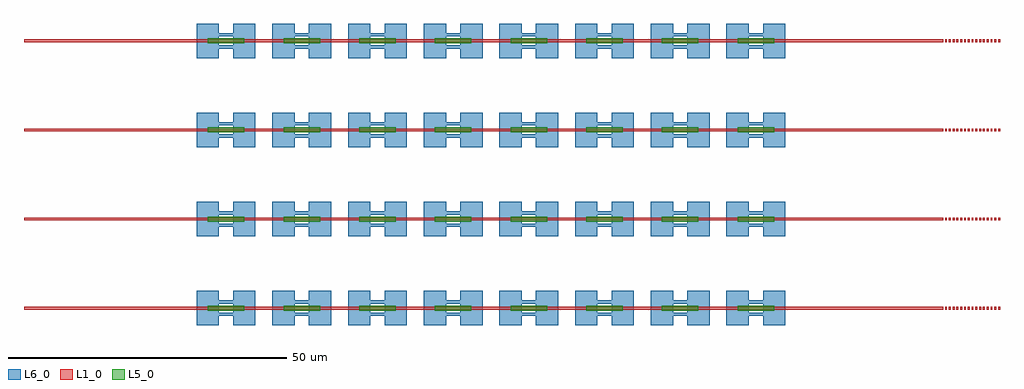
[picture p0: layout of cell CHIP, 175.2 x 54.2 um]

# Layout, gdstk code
import gdstk
lib = gdstk.Library(unit=1e-6, precision=1e-09)
def R(c, l, rs):  # rectangles x0, y0, x1, y1
    for r in rs: c.add(gdstk.rectangle(r[:2], r[2:], *l))
def A(c, l, x, y, w, h, nx, ny, dx, dy):  # array of equal rectangles
    R(c, l, [(x+i*dx, y+j*dy, x+i*dx+w, y+j*dy+h) for i in range(nx) for j in range(ny)])
L1_0 = (1, 0)
L5_0 = (5, 0)
L6_0 = (6, 0)

chip = lib.new_cell('CHIP')
A(chip, L1_0, -30, -0.25, 0.34, 0.5, 16, 4, 0.68, 16)
A(chip, L1_0, 131.66, -0.25, 0.34, 0.5, 16, 4, 0.68, 16)
A(chip, L5_0, 0, -0.45, 6.556, 0.9, 1, 4, 0, 16)
A(chip, L5_0, 13.586, -0.45, 6.556, 0.9, 1, 4, 0, 16)
A(chip, L5_0, 27.173, -0.45, 6.555, 0.9, 1, 4, 0, 16)
A(chip, L5_0, 40.759, -0.45, 6.556, 0.9, 1, 4, 0, 16)
A(chip, L5_0, 54.345, -0.45, 6.556, 0.9, 1, 4, 0, 16)
A(chip, L5_0, 67.932, -0.45, 6.555, 0.9, 1, 4, 0, 16)
A(chip, L5_0, 81.518, -0.45, 6.556, 0.9, 1, 4, 0, 16)
A(chip, L5_0, 95.104, -0.45, 6.556, 0.9, 1, 4, 0, 16)
R(chip, L6_0, [(-2,-3.1,2,0.9), (4.556,-3.1,8.556,0.9), (11.586,-3.1,15.586,0.9), (18.142,-3.1,22.142,0.9), (25.173,-3.1,29.173,0.9), (31.728,-3.1,35.728,0.9), (38.759,-3.1,42.759,0.9), (45.315,-3.1,49.315,0.9), (52.345,-3.1,56.345,0.9), (58.901,-3.1,62.901,0.9), (65.932,-3.1,69.932,0.9), (72.487,-3.1,76.487,0.9), (79.518,-3.1,83.518,0.9), (86.074,-3.1,90.074,0.9), (93.104,-3.1,97.104,0.9), (99.66,-3.1,103.66,0.9), (-2,-0.9,2,3.1), (4.556,-0.9,8.556,3.1), (11.586,-0.9,15.586,3.1), (18.142,-0.9,22.142,3.1), (25.173,-0.9,29.173,3.1), (31.728,-0.9,35.728,3.1), (38.759,-0.9,42.759,3.1), (45.315,-0.9,49.315,3.1), (52.345,-0.9,56.345,3.1), (58.901,-0.9,62.901,3.1), (65.932,-0.9,69.932,3.1), (72.487,-0.9,76.487,3.1), (79.518,-0.9,83.518,3.1), (86.074,-0.9,90.074,3.1), (93.104,-0.9,97.104,3.1), (99.66,-0.9,103.66,3.1), (-2,12.9,2,16.9), (4.556,12.9,8.556,16.9), (11.586,12.9,15.586,16.9), (18.142,12.9,22.142,16.9), (25.173,12.9,29.173,16.9), (31.728,12.9,35.728,16.9), (38.759,12.9,42.759,16.9), (45.315,12.9,49.315,16.9), (52.345,12.9,56.345,16.9), (58.901,12.9,62.901,16.9), (65.932,12.9,69.932,16.9), (72.487,12.9,76.487,16.9), (79.518,12.9,83.518,16.9), (86.074,12.9,90.074,16.9), (93.104,12.9,97.104,16.9), (99.66,12.9,103.66,16.9), (-2,15.1,2,19.1), (4.556,15.1,8.556,19.1), (11.586,15.1,15.586,19.1), (18.142,15.1,22.142,19.1), (25.173,15.1,29.173,19.1), (31.728,15.1,35.728,19.1), (38.759,15.1,42.759,19.1), (45.315,15.1,49.315,19.1), (52.345,15.1,56.345,19.1), (58.901,15.1,62.901,19.1), (65.932,15.1,69.932,19.1), (72.487,15.1,76.487,19.1), (79.518,15.1,83.518,19.1), (86.074,15.1,90.074,19.1), (93.104,15.1,97.104,19.1), (99.66,15.1,103.66,19.1), (-2,28.9,2,32.9), (4.556,28.9,8.556,32.9), (11.586,28.9,15.586,32.9), (18.142,28.9,22.142,32.9), (25.173,28.9,29.173,32.9), (31.728,28.9,35.728,32.9), (38.759,28.9,42.759,32.9), (45.315,28.9,49.315,32.9), (52.345,28.9,56.345,32.9), (58.901,28.9,62.901,32.9), (65.932,28.9,69.932,32.9), (72.487,28.9,76.487,32.9), (79.518,28.9,83.518,32.9), (86.074,28.9,90.074,32.9), (93.104,28.9,97.104,32.9), (99.66,28.9,103.66,32.9), (-2,31.1,2,35.1), (4.556,31.1,8.556,35.1), (11.586,31.1,15.586,35.1), (18.142,31.1,22.142,35.1), (25.173,31.1,29.173,35.1), (31.728,31.1,35.728,35.1), (38.759,31.1,42.759,35.1), (45.315,31.1,49.315,35.1), (52.345,31.1,56.345,35.1), (58.901,31.1,62.901,35.1), (65.932,31.1,69.932,35.1), (72.487,31.1,76.487,35.1), (79.518,31.1,83.518,35.1), (86.074,31.1,90.074,35.1), (93.104,31.1,97.104,35.1), (99.66,31.1,103.66,35.1), (-2,44.9,2,48.9), (4.556,44.9,8.556,48.9), (11.586,44.9,15.586,48.9), (18.142,44.9,22.142,48.9), (25.173,44.9,29.173,48.9), (31.728,44.9,35.728,48.9), (38.759,44.9,42.759,48.9), (45.315,44.9,49.315,48.9), (52.345,44.9,56.345,48.9), (58.901,44.9,62.901,48.9), (65.932,44.9,69.932,48.9), (72.487,44.9,76.487,48.9), (79.518,44.9,83.518,48.9), (86.074,44.9,90.074,48.9), (93.104,44.9,97.104,48.9), (99.66,44.9,103.66,48.9), (-2,47.1,2,51.1), (4.556,47.1,8.556,51.1), (11.586,47.1,15.586,51.1), (18.142,47.1,22.142,51.1), (25.173,47.1,29.173,51.1), (31.728,47.1,35.728,51.1), (38.759,47.1,42.759,51.1), (45.315,47.1,49.315,51.1), (52.345,47.1,56.345,51.1), (58.901,47.1,62.901,51.1), (65.932,47.1,69.932,51.1), (72.487,47.1,76.487,51.1), (79.518,47.1,83.518,51.1), (86.074,47.1,90.074,51.1), (93.104,47.1,97.104,51.1), (99.66,47.1,103.66,51.1)])
chip.add(gdstk.FlexPath([(-30,0),(-10,0)], 0.5, ends="flush", simple_path=True, layer=1, datatype=0))  # L1_0
chip.add(gdstk.FlexPath([(0,0),(6.556,0)], 0.5, ends="flush", simple_path=True, layer=1, datatype=0))  # L1_0
chip.add(gdstk.FlexPath([(0,1.1),(6.556,1.1)], 0.6, ends="flush", simple_path=True, layer=6, datatype=0))  # L6_0
chip.add(gdstk.FlexPath([(0,-1.1),(6.556,-1.1)], 0.6, ends="flush", simple_path=True, layer=6, datatype=0))  # L6_0
chip.add(gdstk.FlexPath([(13.586,0),(20.142,0)], 0.5, ends="flush", simple_path=True, layer=1, datatype=0))  # L1_0
chip.add(gdstk.FlexPath([(13.586,1.1),(20.142,1.1)], 0.6, ends="flush", simple_path=True, layer=6, datatype=0))  # L6_0
chip.add(gdstk.FlexPath([(13.586,-1.1),(20.142,-1.1)], 0.6, ends="flush", simple_path=True, layer=6, datatype=0))  # L6_0
chip.add(gdstk.FlexPath([(27.173,0),(33.728,0)], 0.5, ends="flush", simple_path=True, layer=1, datatype=0))  # L1_0
chip.add(gdstk.FlexPath([(27.173,1.1),(33.728,1.1)], 0.6, ends="flush", simple_path=True, layer=6, datatype=0))  # L6_0
chip.add(gdstk.FlexPath([(27.173,-1.1),(33.728,-1.1)], 0.6, ends="flush", simple_path=True, layer=6, datatype=0))  # L6_0
chip.add(gdstk.FlexPath([(40.759,0),(47.315,0)], 0.5, ends="flush", simple_path=True, layer=1, datatype=0))  # L1_0
chip.add(gdstk.FlexPath([(40.759,1.1),(47.315,1.1)], 0.6, ends="flush", simple_path=True, layer=6, datatype=0))  # L6_0
chip.add(gdstk.FlexPath([(40.759,-1.1),(47.315,-1.1)], 0.6, ends="flush", simple_path=True, layer=6, datatype=0))  # L6_0
chip.add(gdstk.FlexPath([(54.345,0),(60.901,0)], 0.5, ends="flush", simple_path=True, layer=1, datatype=0))  # L1_0
chip.add(gdstk.FlexPath([(54.345,1.1),(60.901,1.1)], 0.6, ends="flush", simple_path=True, layer=6, datatype=0))  # L6_0
chip.add(gdstk.FlexPath([(54.345,-1.1),(60.901,-1.1)], 0.6, ends="flush", simple_path=True, layer=6, datatype=0))  # L6_0
chip.add(gdstk.FlexPath([(67.932,0),(74.487,0)], 0.5, ends="flush", simple_path=True, layer=1, datatype=0))  # L1_0
chip.add(gdstk.FlexPath([(67.932,1.1),(74.487,1.1)], 0.6, ends="flush", simple_path=True, layer=6, datatype=0))  # L6_0
chip.add(gdstk.FlexPath([(67.932,-1.1),(74.487,-1.1)], 0.6, ends="flush", simple_path=True, layer=6, datatype=0))  # L6_0
chip.add(gdstk.FlexPath([(81.518,0),(88.074,0)], 0.5, ends="flush", simple_path=True, layer=1, datatype=0))  # L1_0
chip.add(gdstk.FlexPath([(81.518,1.1),(88.074,1.1)], 0.6, ends="flush", simple_path=True, layer=6, datatype=0))  # L6_0
chip.add(gdstk.FlexPath([(81.518,-1.1),(88.074,-1.1)], 0.6, ends="flush", simple_path=True, layer=6, datatype=0))  # L6_0
chip.add(gdstk.FlexPath([(95.104,0),(101.66,0)], 0.5, ends="flush", simple_path=True, layer=1, datatype=0))  # L1_0
chip.add(gdstk.FlexPath([(95.104,1.1),(101.66,1.1)], 0.6, ends="flush", simple_path=True, layer=6, datatype=0))  # L6_0
chip.add(gdstk.FlexPath([(95.104,-1.1),(101.66,-1.1)], 0.6, ends="flush", simple_path=True, layer=6, datatype=0))  # L6_0
chip.add(gdstk.FlexPath([(111.66,0),(131.66,0)], 0.5, ends="flush", simple_path=True, layer=1, datatype=0))  # L1_0
chip.add(gdstk.FlexPath([(-30,16),(-10,16)], 0.5, ends="flush", simple_path=True, layer=1, datatype=0))  # L1_0
chip.add(gdstk.FlexPath([(0,16),(6.556,16)], 0.5, ends="flush", simple_path=True, layer=1, datatype=0))  # L1_0
chip.add(gdstk.FlexPath([(0,17.1),(6.556,17.1)], 0.6, ends="flush", simple_path=True, layer=6, datatype=0))  # L6_0
chip.add(gdstk.FlexPath([(0,14.9),(6.556,14.9)], 0.6, ends="flush", simple_path=True, layer=6, datatype=0))  # L6_0
chip.add(gdstk.FlexPath([(13.586,16),(20.142,16)], 0.5, ends="flush", simple_path=True, layer=1, datatype=0))  # L1_0
chip.add(gdstk.FlexPath([(13.586,17.1),(20.142,17.1)], 0.6, ends="flush", simple_path=True, layer=6, datatype=0))  # L6_0
chip.add(gdstk.FlexPath([(13.586,14.9),(20.142,14.9)], 0.6, ends="flush", simple_path=True, layer=6, datatype=0))  # L6_0
chip.add(gdstk.FlexPath([(27.173,16),(33.728,16)], 0.5, ends="flush", simple_path=True, layer=1, datatype=0))  # L1_0
chip.add(gdstk.FlexPath([(27.173,17.1),(33.728,17.1)], 0.6, ends="flush", simple_path=True, layer=6, datatype=0))  # L6_0
chip.add(gdstk.FlexPath([(27.173,14.9),(33.728,14.9)], 0.6, ends="flush", simple_path=True, layer=6, datatype=0))  # L6_0
chip.add(gdstk.FlexPath([(40.759,16),(47.315,16)], 0.5, ends="flush", simple_path=True, layer=1, datatype=0))  # L1_0
chip.add(gdstk.FlexPath([(40.759,17.1),(47.315,17.1)], 0.6, ends="flush", simple_path=True, layer=6, datatype=0))  # L6_0
chip.add(gdstk.FlexPath([(40.759,14.9),(47.315,14.9)], 0.6, ends="flush", simple_path=True, layer=6, datatype=0))  # L6_0
chip.add(gdstk.FlexPath([(54.345,16),(60.901,16)], 0.5, ends="flush", simple_path=True, layer=1, datatype=0))  # L1_0
chip.add(gdstk.FlexPath([(54.345,17.1),(60.901,17.1)], 0.6, ends="flush", simple_path=True, layer=6, datatype=0))  # L6_0
chip.add(gdstk.FlexPath([(54.345,14.9),(60.901,14.9)], 0.6, ends="flush", simple_path=True, layer=6, datatype=0))  # L6_0
chip.add(gdstk.FlexPath([(67.932,16),(74.487,16)], 0.5, ends="flush", simple_path=True, layer=1, datatype=0))  # L1_0
chip.add(gdstk.FlexPath([(67.932,17.1),(74.487,17.1)], 0.6, ends="flush", simple_path=True, layer=6, datatype=0))  # L6_0
chip.add(gdstk.FlexPath([(67.932,14.9),(74.487,14.9)], 0.6, ends="flush", simple_path=True, layer=6, datatype=0))  # L6_0
chip.add(gdstk.FlexPath([(81.518,16),(88.074,16)], 0.5, ends="flush", simple_path=True, layer=1, datatype=0))  # L1_0
chip.add(gdstk.FlexPath([(81.518,17.1),(88.074,17.1)], 0.6, ends="flush", simple_path=True, layer=6, datatype=0))  # L6_0
chip.add(gdstk.FlexPath([(81.518,14.9),(88.074,14.9)], 0.6, ends="flush", simple_path=True, layer=6, datatype=0))  # L6_0
chip.add(gdstk.FlexPath([(95.104,16),(101.66,16)], 0.5, ends="flush", simple_path=True, layer=1, datatype=0))  # L1_0
chip.add(gdstk.FlexPath([(95.104,17.1),(101.66,17.1)], 0.6, ends="flush", simple_path=True, layer=6, datatype=0))  # L6_0
chip.add(gdstk.FlexPath([(95.104,14.9),(101.66,14.9)], 0.6, ends="flush", simple_path=True, layer=6, datatype=0))  # L6_0
chip.add(gdstk.FlexPath([(111.66,16),(131.66,16)], 0.5, ends="flush", simple_path=True, layer=1, datatype=0))  # L1_0
chip.add(gdstk.FlexPath([(-30,32),(-10,32)], 0.5, ends="flush", simple_path=True, layer=1, datatype=0))  # L1_0
chip.add(gdstk.FlexPath([(0,32),(6.556,32)], 0.5, ends="flush", simple_path=True, layer=1, datatype=0))  # L1_0
chip.add(gdstk.FlexPath([(0,33.1),(6.556,33.1)], 0.6, ends="flush", simple_path=True, layer=6, datatype=0))  # L6_0
chip.add(gdstk.FlexPath([(0,30.9),(6.556,30.9)], 0.6, ends="flush", simple_path=True, layer=6, datatype=0))  # L6_0
chip.add(gdstk.FlexPath([(13.586,32),(20.142,32)], 0.5, ends="flush", simple_path=True, layer=1, datatype=0))  # L1_0
chip.add(gdstk.FlexPath([(13.586,33.1),(20.142,33.1)], 0.6, ends="flush", simple_path=True, layer=6, datatype=0))  # L6_0
chip.add(gdstk.FlexPath([(13.586,30.9),(20.142,30.9)], 0.6, ends="flush", simple_path=True, layer=6, datatype=0))  # L6_0
chip.add(gdstk.FlexPath([(27.173,32),(33.728,32)], 0.5, ends="flush", simple_path=True, layer=1, datatype=0))  # L1_0
chip.add(gdstk.FlexPath([(27.173,33.1),(33.728,33.1)], 0.6, ends="flush", simple_path=True, layer=6, datatype=0))  # L6_0
chip.add(gdstk.FlexPath([(27.173,30.9),(33.728,30.9)], 0.6, ends="flush", simple_path=True, layer=6, datatype=0))  # L6_0
chip.add(gdstk.FlexPath([(40.759,32),(47.315,32)], 0.5, ends="flush", simple_path=True, layer=1, datatype=0))  # L1_0
chip.add(gdstk.FlexPath([(40.759,33.1),(47.315,33.1)], 0.6, ends="flush", simple_path=True, layer=6, datatype=0))  # L6_0
chip.add(gdstk.FlexPath([(40.759,30.9),(47.315,30.9)], 0.6, ends="flush", simple_path=True, layer=6, datatype=0))  # L6_0
chip.add(gdstk.FlexPath([(54.345,32),(60.901,32)], 0.5, ends="flush", simple_path=True, layer=1, datatype=0))  # L1_0
chip.add(gdstk.FlexPath([(54.345,33.1),(60.901,33.1)], 0.6, ends="flush", simple_path=True, layer=6, datatype=0))  # L6_0
chip.add(gdstk.FlexPath([(54.345,30.9),(60.901,30.9)], 0.6, ends="flush", simple_path=True, layer=6, datatype=0))  # L6_0
chip.add(gdstk.FlexPath([(67.932,32),(74.487,32)], 0.5, ends="flush", simple_path=True, layer=1, datatype=0))  # L1_0
chip.add(gdstk.FlexPath([(67.932,33.1),(74.487,33.1)], 0.6, ends="flush", simple_path=True, layer=6, datatype=0))  # L6_0
chip.add(gdstk.FlexPath([(67.932,30.9),(74.487,30.9)], 0.6, ends="flush", simple_path=True, layer=6, datatype=0))  # L6_0
chip.add(gdstk.FlexPath([(81.518,32),(88.074,32)], 0.5, ends="flush", simple_path=True, layer=1, datatype=0))  # L1_0
chip.add(gdstk.FlexPath([(81.518,33.1),(88.074,33.1)], 0.6, ends="flush", simple_path=True, layer=6, datatype=0))  # L6_0
chip.add(gdstk.FlexPath([(81.518,30.9),(88.074,30.9)], 0.6, ends="flush", simple_path=True, layer=6, datatype=0))  # L6_0
chip.add(gdstk.FlexPath([(95.104,32),(101.66,32)], 0.5, ends="flush", simple_path=True, layer=1, datatype=0))  # L1_0
chip.add(gdstk.FlexPath([(95.104,33.1),(101.66,33.1)], 0.6, ends="flush", simple_path=True, layer=6, datatype=0))  # L6_0
chip.add(gdstk.FlexPath([(95.104,30.9),(101.66,30.9)], 0.6, ends="flush", simple_path=True, layer=6, datatype=0))  # L6_0
chip.add(gdstk.FlexPath([(111.66,32),(131.66,32)], 0.5, ends="flush", simple_path=True, layer=1, datatype=0))  # L1_0
chip.add(gdstk.FlexPath([(-30,48),(-10,48)], 0.5, ends="flush", simple_path=True, layer=1, datatype=0))  # L1_0
chip.add(gdstk.FlexPath([(0,48),(6.556,48)], 0.5, ends="flush", simple_path=True, layer=1, datatype=0))  # L1_0
chip.add(gdstk.FlexPath([(0,49.1),(6.556,49.1)], 0.6, ends="flush", simple_path=True, layer=6, datatype=0))  # L6_0
chip.add(gdstk.FlexPath([(0,46.9),(6.556,46.9)], 0.6, ends="flush", simple_path=True, layer=6, datatype=0))  # L6_0
chip.add(gdstk.FlexPath([(13.586,48),(20.142,48)], 0.5, ends="flush", simple_path=True, layer=1, datatype=0))  # L1_0
chip.add(gdstk.FlexPath([(13.586,49.1),(20.142,49.1)], 0.6, ends="flush", simple_path=True, layer=6, datatype=0))  # L6_0
chip.add(gdstk.FlexPath([(13.586,46.9),(20.142,46.9)], 0.6, ends="flush", simple_path=True, layer=6, datatype=0))  # L6_0
chip.add(gdstk.FlexPath([(27.173,48),(33.728,48)], 0.5, ends="flush", simple_path=True, layer=1, datatype=0))  # L1_0
chip.add(gdstk.FlexPath([(27.173,49.1),(33.728,49.1)], 0.6, ends="flush", simple_path=True, layer=6, datatype=0))  # L6_0
chip.add(gdstk.FlexPath([(27.173,46.9),(33.728,46.9)], 0.6, ends="flush", simple_path=True, layer=6, datatype=0))  # L6_0
chip.add(gdstk.FlexPath([(40.759,48),(47.315,48)], 0.5, ends="flush", simple_path=True, layer=1, datatype=0))  # L1_0
chip.add(gdstk.FlexPath([(40.759,49.1),(47.315,49.1)], 0.6, ends="flush", simple_path=True, layer=6, datatype=0))  # L6_0
chip.add(gdstk.FlexPath([(40.759,46.9),(47.315,46.9)], 0.6, ends="flush", simple_path=True, layer=6, datatype=0))  # L6_0
chip.add(gdstk.FlexPath([(54.345,48),(60.901,48)], 0.5, ends="flush", simple_path=True, layer=1, datatype=0))  # L1_0
chip.add(gdstk.FlexPath([(54.345,49.1),(60.901,49.1)], 0.6, ends="flush", simple_path=True, layer=6, datatype=0))  # L6_0
chip.add(gdstk.FlexPath([(54.345,46.9),(60.901,46.9)], 0.6, ends="flush", simple_path=True, layer=6, datatype=0))  # L6_0
chip.add(gdstk.FlexPath([(67.932,48),(74.487,48)], 0.5, ends="flush", simple_path=True, layer=1, datatype=0))  # L1_0
chip.add(gdstk.FlexPath([(67.932,49.1),(74.487,49.1)], 0.6, ends="flush", simple_path=True, layer=6, datatype=0))  # L6_0
chip.add(gdstk.FlexPath([(67.932,46.9),(74.487,46.9)], 0.6, ends="flush", simple_path=True, layer=6, datatype=0))  # L6_0
chip.add(gdstk.FlexPath([(81.518,48),(88.074,48)], 0.5, ends="flush", simple_path=True, layer=1, datatype=0))  # L1_0
chip.add(gdstk.FlexPath([(81.518,49.1),(88.074,49.1)], 0.6, ends="flush", simple_path=True, layer=6, datatype=0))  # L6_0
chip.add(gdstk.FlexPath([(81.518,46.9),(88.074,46.9)], 0.6, ends="flush", simple_path=True, layer=6, datatype=0))  # L6_0
chip.add(gdstk.FlexPath([(95.104,48),(101.66,48)], 0.5, ends="flush", simple_path=True, layer=1, datatype=0))  # L1_0
chip.add(gdstk.FlexPath([(95.104,49.1),(101.66,49.1)], 0.6, ends="flush", simple_path=True, layer=6, datatype=0))  # L6_0
chip.add(gdstk.FlexPath([(95.104,46.9),(101.66,46.9)], 0.6, ends="flush", simple_path=True, layer=6, datatype=0))  # L6_0
chip.add(gdstk.FlexPath([(111.66,48),(131.66,48)], 0.5, ends="flush", simple_path=True, layer=1, datatype=0))  # L1_0
chip.add(gdstk.FlexPath([(-10,0),(0,0)], 0.5, ends="flush", simple_path=True, layer=1, datatype=0))  # L1_0
chip.add(gdstk.FlexPath([(6.556,0),(13.586,0)], 0.5, ends="flush", simple_path=True, layer=1, datatype=0))  # L1_0
chip.add(gdstk.FlexPath([(20.142,0),(27.173,0)], 0.5, ends="flush", simple_path=True, layer=1, datatype=0))  # L1_0
chip.add(gdstk.FlexPath([(33.728,0),(40.759,0)], 0.5, ends="flush", simple_path=True, layer=1, datatype=0))  # L1_0
chip.add(gdstk.FlexPath([(47.315,0),(54.345,0)], 0.5, ends="flush", simple_path=True, layer=1, datatype=0))  # L1_0
chip.add(gdstk.FlexPath([(60.901,0),(67.932,0)], 0.5, ends="flush", simple_path=True, layer=1, datatype=0))  # L1_0
chip.add(gdstk.FlexPath([(74.487,0),(81.518,0)], 0.5, ends="flush", simple_path=True, layer=1, datatype=0))  # L1_0
chip.add(gdstk.FlexPath([(88.074,0),(95.104,0)], 0.5, ends="flush", simple_path=True, layer=1, datatype=0))  # L1_0
chip.add(gdstk.FlexPath([(101.66,0),(111.66,0)], 0.5, ends="flush", simple_path=True, layer=1, datatype=0))  # L1_0
chip.add(gdstk.FlexPath([(-10,16),(0,16)], 0.5, ends="flush", simple_path=True, layer=1, datatype=0))  # L1_0
chip.add(gdstk.FlexPath([(6.556,16),(13.586,16)], 0.5, ends="flush", simple_path=True, layer=1, datatype=0))  # L1_0
chip.add(gdstk.FlexPath([(20.142,16),(27.173,16)], 0.5, ends="flush", simple_path=True, layer=1, datatype=0))  # L1_0
chip.add(gdstk.FlexPath([(33.728,16),(40.759,16)], 0.5, ends="flush", simple_path=True, layer=1, datatype=0))  # L1_0
chip.add(gdstk.FlexPath([(47.315,16),(54.345,16)], 0.5, ends="flush", simple_path=True, layer=1, datatype=0))  # L1_0
chip.add(gdstk.FlexPath([(60.901,16),(67.932,16)], 0.5, ends="flush", simple_path=True, layer=1, datatype=0))  # L1_0
chip.add(gdstk.FlexPath([(74.487,16),(81.518,16)], 0.5, ends="flush", simple_path=True, layer=1, datatype=0))  # L1_0
chip.add(gdstk.FlexPath([(88.074,16),(95.104,16)], 0.5, ends="flush", simple_path=True, layer=1, datatype=0))  # L1_0
chip.add(gdstk.FlexPath([(101.66,16),(111.66,16)], 0.5, ends="flush", simple_path=True, layer=1, datatype=0))  # L1_0
chip.add(gdstk.FlexPath([(-10,32),(0,32)], 0.5, ends="flush", simple_path=True, layer=1, datatype=0))  # L1_0
chip.add(gdstk.FlexPath([(6.556,32),(13.586,32)], 0.5, ends="flush", simple_path=True, layer=1, datatype=0))  # L1_0
chip.add(gdstk.FlexPath([(20.142,32),(27.173,32)], 0.5, ends="flush", simple_path=True, layer=1, datatype=0))  # L1_0
chip.add(gdstk.FlexPath([(33.728,32),(40.759,32)], 0.5, ends="flush", simple_path=True, layer=1, datatype=0))  # L1_0
chip.add(gdstk.FlexPath([(47.315,32),(54.345,32)], 0.5, ends="flush", simple_path=True, layer=1, datatype=0))  # L1_0
chip.add(gdstk.FlexPath([(60.901,32),(67.932,32)], 0.5, ends="flush", simple_path=True, layer=1, datatype=0))  # L1_0
chip.add(gdstk.FlexPath([(74.487,32),(81.518,32)], 0.5, ends="flush", simple_path=True, layer=1, datatype=0))  # L1_0
chip.add(gdstk.FlexPath([(88.074,32),(95.104,32)], 0.5, ends="flush", simple_path=True, layer=1, datatype=0))  # L1_0
chip.add(gdstk.FlexPath([(101.66,32),(111.66,32)], 0.5, ends="flush", simple_path=True, layer=1, datatype=0))  # L1_0
chip.add(gdstk.FlexPath([(-10,48),(0,48)], 0.5, ends="flush", simple_path=True, layer=1, datatype=0))  # L1_0
chip.add(gdstk.FlexPath([(6.556,48),(13.586,48)], 0.5, ends="flush", simple_path=True, layer=1, datatype=0))  # L1_0
chip.add(gdstk.FlexPath([(20.142,48),(27.173,48)], 0.5, ends="flush", simple_path=True, layer=1, datatype=0))  # L1_0
chip.add(gdstk.FlexPath([(33.728,48),(40.759,48)], 0.5, ends="flush", simple_path=True, layer=1, datatype=0))  # L1_0
chip.add(gdstk.FlexPath([(47.315,48),(54.345,48)], 0.5, ends="flush", simple_path=True, layer=1, datatype=0))  # L1_0
chip.add(gdstk.FlexPath([(60.901,48),(67.932,48)], 0.5, ends="flush", simple_path=True, layer=1, datatype=0))  # L1_0
chip.add(gdstk.FlexPath([(74.487,48),(81.518,48)], 0.5, ends="flush", simple_path=True, layer=1, datatype=0))  # L1_0
chip.add(gdstk.FlexPath([(88.074,48),(95.104,48)], 0.5, ends="flush", simple_path=True, layer=1, datatype=0))  # L1_0
chip.add(gdstk.FlexPath([(101.66,48),(111.66,48)], 0.5, ends="flush", simple_path=True, layer=1, datatype=0))  # L1_0
chip.add(gdstk.FlexPath([(-33,0),(-30,0)], 0.5, ends="flush", simple_path=True, layer=1, datatype=0))  # L1_0
chip.add(gdstk.FlexPath([(128.66,0),(131.66,0)], 0.5, ends="flush", simple_path=True, layer=1, datatype=0))  # L1_0
chip.add(gdstk.FlexPath([(-33,16),(-30,16)], 0.5, ends="flush", simple_path=True, layer=1, datatype=0))  # L1_0
chip.add(gdstk.FlexPath([(128.66,16),(131.66,16)], 0.5, ends="flush", simple_path=True, layer=1, datatype=0))  # L1_0
chip.add(gdstk.FlexPath([(-33,32),(-30,32)], 0.5, ends="flush", simple_path=True, layer=1, datatype=0))  # L1_0
chip.add(gdstk.FlexPath([(128.66,32),(131.66,32)], 0.5, ends="flush", simple_path=True, layer=1, datatype=0))  # L1_0
chip.add(gdstk.FlexPath([(-33,48),(-30,48)], 0.5, ends="flush", simple_path=True, layer=1, datatype=0))  # L1_0
chip.add(gdstk.FlexPath([(128.66,48),(131.66,48)], 0.5, ends="flush", simple_path=True, layer=1, datatype=0))  # L1_0

lib.write_gds('CHIP.gds')
